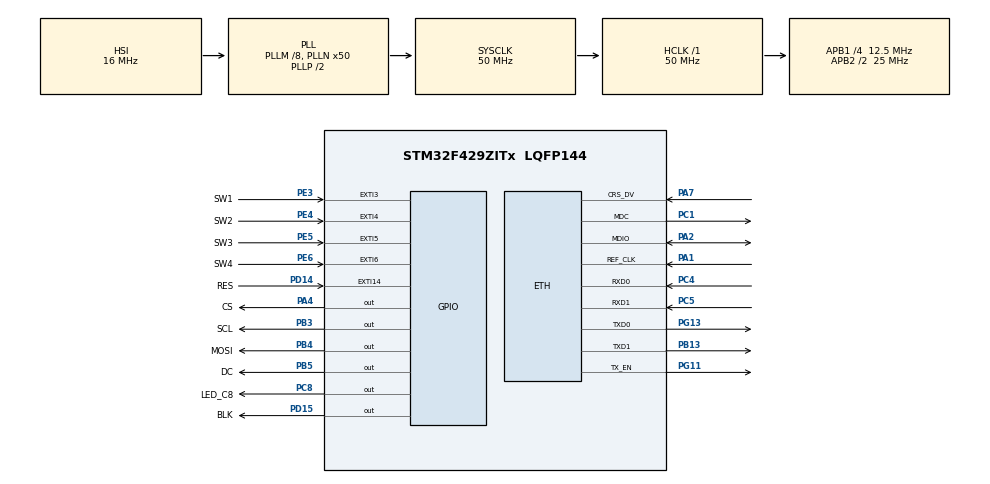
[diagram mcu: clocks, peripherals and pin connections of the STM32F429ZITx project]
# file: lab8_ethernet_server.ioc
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ETH.MACAddr=00\:80\:E1\:AD\:EF\:0D
ETH.MediaInterface=HAL_ETH_RMII_MODE
FREERTOS.Tasks01=defaultTask,0,128,StartDefaultTask,Default,NULL,Dynamic,NULL,NULL
FREERTOS.configTOTAL_HEAP_SIZE=25360
LWIP.BSP.number=1
LWIP.GATEWAY_ADDRESS=192.168.003.254
LWIP.IP_ADDRESS=192.168.003.175
LWIP.LWIP_DHCP=0
LWIP.MEM_SIZE=10*1024
LWIP.NETMASK_ADDRESS=255.255.255.000
LWIP.Version=v2.1.2_Cube
LWIP0.BSP.STBoard=false
LWIP0.BSP.api=BSP_COMPONENT_DRIVER
LWIP0.BSP.component=LAN8742
LWIP0.BSP.instance=LAN8742
LWIP0.BSP.name=Driver_PHY
LWIP0.BSP.semaphore=S_LAN8742
LWIP0.BSP.solution=LAN8742
Mcu.Family=STM32F4
Mcu.Name=STM32F429ZITx
Mcu.Package=LQFP144
NVIC.ETH_IRQn=true\:5\:0\:false\:false\:true\:true\:false\:true\:true
NVIC.EXTI3_IRQn=true\:5\:0\:false\:false\:true\:true\:true\:true\:true
NVIC.EXTI4_IRQn=true\:5\:0\:false\:false\:true\:true\:true\:true\:true
NVIC.EXTI9_5_IRQn=true\:5\:0\:false\:false\:true\:true\:true\:true\:true
NVIC.PriorityGroup=NVIC_PRIORITYGROUP_4
NVIC.TIM1_UP_TIM10_IRQn=true\:15\:0\:false\:false\:true\:false\:false\:true\:true
NVIC.TimeBase=TIM1_UP_TIM10_IRQn
NVIC.TimeBaseIP=TIM1
PA1.Mode=RMII
PA1.Signal=ETH_REF_CLK
PA13.Mode=Serial_Wire
PA13.Signal=SYS_JTMS-SWDIO
PA14.Mode=Serial_Wire
PA14.Signal=SYS_JTCK-SWCLK
PA2.Mode=RMII
PA2.Signal=ETH_MDIO
PA4.GPIO_Label=CS
PA4.Signal=GPIO_Output
PA7.Mode=RMII
PA7.Signal=ETH_CRS_DV
PB13.Mode=RMII
PB13.Signal=ETH_TXD1
PB3.GPIO_Label=SCL
PB3.Signal=GPIO_Output
PB4.GPIO_Label=MOSI
PB4.Signal=GPIO_Output
PB5.GPIO_Label=DC
PB5.Signal=GPIO_Output
PC1.Mode=RMII
PC1.Signal=ETH_MDC
PC14/OSC32_IN.Mode=LSE-External-Oscillator
PC14/OSC32_IN.Signal=RCC_OSC32_IN
PC15/OSC32_OUT.Mode=LSE-External-Oscillator
PC15/OSC32_OUT.Signal=RCC_OSC32_OUT
PC4.Mode=RMII
PC4.Signal=ETH_RXD0
PC5.Mode=RMII
PC5.Signal=ETH_RXD1
PC8.GPIO_Label=LED_C8
PC8.Signal=GPIO_Output
PD14.GPIO_Label=RES
PD14.Signal=GPXTI14
PD15.GPIO_Label=BLK
PD15.Signal=GPIO_Output
PE3.GPIO_Label=SW1
PE3.Signal=GPXTI3
PE4.GPIO_Label=SW2
PE4.Signal=GPXTI4
PE5.GPIO_Label=SW3
PE5.Signal=GPXTI5
PE6.GPIO_Label=SW4
PE6.Signal=GPXTI6
PG11.Mode=RMII
PG11.Signal=ETH_TX_EN
PG13.Mode=RMII
PG13.Signal=ETH_TXD0
PH0/OSC_IN.Mode=HSE-External-Oscillator
PH0/OSC_IN.Signal=RCC_OSC_IN
PH1/OSC_OUT.Mode=HSE-External-Oscillator
PH1/OSC_OUT.Signal=RCC_OSC_OUT
ProjectManager.HeapSize=0x200
ProjectManager.StackSize=0x400
ProjectManager.TargetToolchain=MDK-ARM V5.32
RCC.48MHZClocksFreq_Value=14285714.285714285
RCC.AHBFreq_Value=50000000
RCC.APB1CLKDivider=RCC_HCLK_DIV4
RCC.APB1Freq_Value=12500000
RCC.APB1TimFreq_Value=25000000
RCC.APB2CLKDivider=RCC_HCLK_DIV2
RCC.APB2Freq_Value=25000000
RCC.APB2TimCLKDivider=2
RCC.APB2TimFreq_Value=50000000
RCC.CortexFreq_Value=50000000
RCC.HCLKFreq_Value=50000000
RCC.HSE_VALUE=8000000
RCC.HSI_VALUE=16000000
RCC.PLLM=8
RCC.PLLMUL=RCC_PLL_MUL9
RCC.PLLN=50
RCC.PLLQ=7
RCC.PRESCALERUSB=RCC_USBCLKSOURCE_PLL_DIV1_5
RCC.SYSCLKFreq_VALUE=50000000
RCC.SYSCLKSource=RCC_SYSCLKSOURCE_PLLCLK
RCC.SYSCLKSourceVirtual=RCC_SYSCLKSOURCE_PLLCLK
RCC.USBFreq_Value=48000000
RCC.VCOOutputFreq_Value=100000000
VP_FREERTOS_VS_CMSIS_V1.Mode=CMSIS_V1
VP_LWIP_VS_Enabled.Mode=Enabled
VP_SYS_VS_tim1.Mode=TIM1
board=NUCLEO-F429ZI

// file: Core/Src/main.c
/* USER CODE BEGIN Header */
/**
  ******************************************************************************
  * @file           : main.c
  * @brief          : Main program body
  ******************************************************************************
  * @attention
  *
  * Copyright (c) 2024 STMicroelectronics.
  * All rights reserved.
  *
  * This software is licensed under terms that can be found in the LICENSE file
  * in the root directory of this software component.
  * If no LICENSE file comes with this software, it is provided AS-IS.
  *
  ******************************************************************************
  */
/* USER CODE END Header */
#include "main.h"
#include "cmsis_os.h"
#include "lwip.h"
#include "gpio.h"

/* USER CODE BEGIN Includes */

//#include "tcpclient.h"
#include "FreeRTOS.h"
#include "task.h"
#include "semphr.h"
#include "lwip/opt.h"
#include "lwip/api.h"
#include "lwip/sys.h"
#include "string.h"
#include "stdio.h"
#include "lcd.h"
#include "lcd_init.h"
#include "image.h"
#include "image2.h"
#include "image3.h"
#include "image4.h"
#include "image5.h"
#include "images1.h"
#include "images2.h"
#include "images3.h"
/* USER CODE END Includes */

/* USER CODE BEGIN PV */

/*********freeRTOS*********/
TaskHandle_t handleETH;
TaskHandle_t handleTCP_Init;
TaskHandle_t handleTCP_Send;
SemaphoreHandle_t xSemTCP;

/*********LWIP*********/
static struct netconn *connTCP, *newconn;
static struct netbuf *bufTCP;
static ip_addr_t *addr;
static unsigned short port;
char msgc[100];
char smsgc[200];
/* USER CODE END PV */

void SystemClock_Config(void);
void MX_FREERTOS_Init(void);

/* USER CODE BEGIN 0 */
/****************
!!don't remove!!
****************/
FILE __stdout;

int fputc(int c, FILE *f) {
  return (0);
}

/****************
!!don't remove!!
https://reurl.cc/Wx1YDe
****************/

void taskTCP_Init(void *pvParm){
	err_t err, accept, recv;
	uint8_t select = 0;
	uint8_t stop = 0;
	uint8_t currentImageIndex = 0;
	//create new connection
	connTCP = netconn_new(NETCONN_TCP);

	if(connTCP != NULL){
		err = netconn_bind(connTCP, IP_ADDR_ANY, 230);
		if(err == ERR_OK){
			//listen
			netconn_listen(connTCP);
			//handle connection
			while(1){
				//catch new connection
				accept = netconn_accept(connTCP, &newconn);
				//establish new connection success
				if(accept == ERR_OK){
					//if a client connect into server -> turn on LED_C8
					//HAL_GPIO_WritePin(LED_C8_GPIO_Port, LED_C8_Pin, 1);
					//when server receive data from client -> process buf until end of nuf
					while(netconn_recv(newconn, &bufTCP) == ERR_OK){
						do{
							strncpy(msgc, bufTCP->p->payload, bufTCP->p->len);
							//get data from client, sent it back to client
							int msgLen = sprintf(smsgc, "this is sent by server \n client sent to server is %s \n", msgc);
							netconn_write(newconn, smsgc, msgLen, NETCONN_COPY);
							memset(msgc, 0, 100);
							/*switch(smsgc){
							case 0:
							{
							uint8_t msg[] = "B10913154";

							LCD_Fill(0, 0, 240, 240, WHITE);
							LCD_ShowString(10, 30, msg, BLACK, WHITE, 32, 1);
							vTaskDelay(500);
							break;
							}

							case 1:
							{
								LCD_ShowPicture(0,0,240,240,gImage_images1);
								currentImageIndex = 1;
								if(stop == 2){
									select = 1;
								}
								else{
									select = 2;
								}

								vTaskDelay(500);
									break;
							}
							case 2:
							{
								LCD_ShowPicture(0,0,240,240, gImage_images2);
								currentImageIndex = 2;
								if(stop== 3){
									select = 2;
								}
								else{
									select = 3;
								}

								vTaskDelay(500);
								break;
							}
							case 3:
							{
								LCD_ShowPicture(0,0,240,240, gImage_images3);
								currentImageIndex = 3;
								if(stop==1){
									select = 3;
								}
								else{
									select = 1;
								}
								vTaskDelay(500);
								break;
							}
							case 4:
							{
								switch(currentImageIndex){
									case 1:
									{
										select = 3;
										stop = 1;
										break;
									}
									case 2:
									{
										select = 1;
										stop = 2;
										break;
									}
									case 3:
									{
										select = 2;
										stop = 3;
										break;
									}
								}
								break;
							}
							case 5:
							{
								switch(currentImageIndex){
									case 1:
									{
										select = 2;
										stop = 3;
										break;
									}
									case 2:
									{
										select = 3;
										stop = 1;
										break;
									}
									case 3:
									{
										select = 1;
										stop = 2;
										break;
									}
								}
								break;
								}
								}*/
							}while(netbuf_next(bufTCP) > 0);
									netbuf_delete(bufTCP);
						}
					}
				//if nomore client connect into server -> turn off LED_C8
				//HAL_GPIO_WritePin(LED_C8_GPIO_Port, LED_C8_Pin, 0);
				netconn_close(newconn);
				netconn_delete(newconn);
			}
		}
		//create fail -> delete connection
		else{
			netconn_delete(connTCP);
		}
	}
}

void taskETH(void *pvParm){
	/*************
	init LwIP first
	must put this function in task -> it content some freeRTOS api when init
	*************/
	MX_LWIP_Init();

	xTaskCreate(taskTCP_Init, "TCP init", 1024, NULL, 0, &handleTCP_Init);

	while(1){
		HAL_GPIO_TogglePin(LED_C8_GPIO_Port, LED_C8_Pin);
		vTaskDelay(100);
	}
}

/* USER CODE END 0 */

int main(void)
{

  /* MCU Configuration--------------------------------------------------------*/

  /* Reset of all peripherals, Initializes the Flash interface and the Systick. */
  HAL_Init();

  /* Configure the system clock */
  SystemClock_Config();

  /* Initialize all configured peripherals */
  MX_GPIO_Init();
  /* USER CODE BEGIN 2 */
	LCD_Init();
	//LCD_CS_Clr();
	LCD_Address_Set(0,0,240,240);

	xTaskCreate(taskETH, "ETH example", 1024, NULL, 1, &handleETH);
	vTaskStartScheduler();
  /* USER CODE END 2 */

  /* Call init function for freertos objects (in freertos.c) */
  MX_FREERTOS_Init();

  /* Start scheduler */
  osKernelStart();

  /* We should never get here as control is now taken by the scheduler */
  /* Infinite loop */
  while (1)
  {

  }
}

void SystemClock_Config(void)
{
  RCC_OscInitTypeDef RCC_OscInitStruct = {0};
  RCC_ClkInitTypeDef RCC_ClkInitStruct = {0};

  /** Configure the main internal regulator output voltage
  */
  __HAL_RCC_PWR_CLK_ENABLE();
  __HAL_PWR_VOLTAGESCALING_CONFIG(PWR_REGULATOR_VOLTAGE_SCALE3);

  /** Initializes the RCC Oscillators according to the specified parameters
  * in the RCC_OscInitTypeDef structure.
  */
  RCC_OscInitStruct.OscillatorType = RCC_OSCILLATORTYPE_HSI;
  RCC_OscInitStruct.HSIState = RCC_HSI_ON;
  RCC_OscInitStruct.HSICalibrationValue = RCC_HSICALIBRATION_DEFAULT;
  RCC_OscInitStruct.PLL.PLLState = RCC_PLL_ON;
  RCC_OscInitStruct.PLL.PLLSource = RCC_PLLSOURCE_HSI;
  RCC_OscInitStruct.PLL.PLLM = 8;
  RCC_OscInitStruct.PLL.PLLN = 50;
  RCC_OscInitStruct.PLL.PLLP = RCC_PLLP_DIV2;
  RCC_OscInitStruct.PLL.PLLQ = 7;
  if (HAL_RCC_OscConfig(&RCC_OscInitStruct) != HAL_OK)
  {
    Error_Handler();
  }

  /** Initializes the CPU, AHB and APB buses clocks
  */
  RCC_ClkInitStruct.ClockType = RCC_CLOCKTYPE_HCLK|RCC_CLOCKTYPE_SYSCLK
                              |RCC_CLOCKTYPE_PCLK1|RCC_CLOCKTYPE_PCLK2;
  RCC_ClkInitStruct.SYSCLKSource = RCC_SYSCLKSOURCE_PLLCLK;
  RCC_ClkInitStruct.AHBCLKDivider = RCC_SYSCLK_DIV1;
  RCC_ClkInitStruct.APB1CLKDivider = RCC_HCLK_DIV4;
  RCC_ClkInitStruct.APB2CLKDivider = RCC_HCLK_DIV2;

  if (HAL_RCC_ClockConfig(&RCC_ClkInitStruct, FLASH_LATENCY_1) != HAL_OK)
  {
    Error_Handler();
  }
}

void HAL_TIM_PeriodElapsedCallback(TIM_HandleTypeDef *htim)
{
  if (htim->Instance == TIM1) {
    HAL_IncTick();
  }
}

void Error_Handler(void)
{
  __disable_irq();
  while (1)
  {
  }
}
